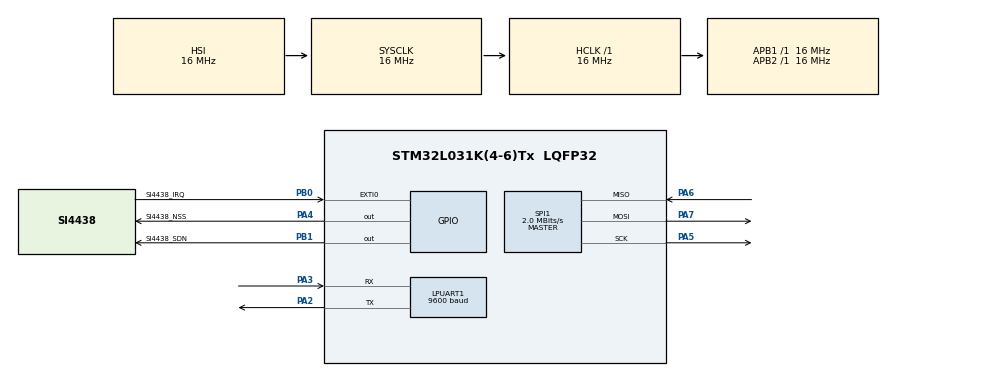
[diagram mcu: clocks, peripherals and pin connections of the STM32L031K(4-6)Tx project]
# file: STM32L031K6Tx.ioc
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LPUART1.BaudRate=9600
LPUART1.WordLength=UART_WORDLENGTH_8B
Mcu.Family=STM32L0
Mcu.Name=STM32L031K(4-6)Tx
Mcu.Package=LQFP32
NVIC.AES_RNG_LPUART1_IRQn=true\:0\:0\:true\:false\:true\:true
NVIC.EXTI0_1_IRQn=true\:0\:0\:true\:false\:true\:true
PA2.Mode=Asynchronous
PA2.Signal=LPUART1_TX
PA3.Mode=Asynchronous
PA3.Signal=LPUART1_RX
PA4.GPIO_Label=SI4438_NSS
PA4.GPIO_Speed=GPIO_SPEED_FREQ_HIGH
PA4.Signal=GPIO_Output
PA5.Mode=Full_Duplex_Master
PA5.Signal=SPI1_SCK
PA6.Mode=Full_Duplex_Master
PA6.Signal=SPI1_MISO
PA7.Mode=Full_Duplex_Master
PA7.Signal=SPI1_MOSI
PB0.GPIO_Label=SI4438_IRQ
PB0.GPIO_ModeDefaultEXTI=GPIO_MODE_IT_FALLING
PB0.Signal=GPXTI0
PB1.GPIO_Label=SI4438_SDN
PB1.GPIO_Speed=GPIO_SPEED_FREQ_HIGH
PB1.Signal=GPIO_Output
PB6.Signal=USART2_TX
PB7.Signal=USART2_RX
ProjectManager.HeapSize=0x200
ProjectManager.StackSize=0x400
ProjectManager.TargetToolchain=MDK-ARM V5
RCC.AHBFreq_Value=16000000
RCC.APB1Freq_Value=16000000
RCC.APB1TimFreq_Value=16000000
RCC.APB2Freq_Value=16000000
RCC.APB2TimFreq_Value=16000000
RCC.HCLKFreq_Value=16000000
RCC.HSE_VALUE=8000000
RCC.HSI16_VALUE=16000000
RCC.HSI_VALUE=16000000
RCC.LSE_VALUE=32768
RCC.MSI_VALUE=2097000
RCC.PLLMUL=RCC_PLLMUL_4
RCC.SYSCLKFreq_VALUE=16000000
RCC.SYSCLKSource=RCC_SYSCLKSOURCE_HSI
RCC.VCOOutputFreq_Value=64000000
SPI1.BaudRatePrescaler=SPI_BAUDRATEPRESCALER_8
SPI1.CalculateBaudRate=2.0 MBits/s
SPI1.Direction=SPI_DIRECTION_2LINES
SPI1.Mode=SPI_MODE_MASTER
SPI1.VirtualType=VM_MASTER
board=custom

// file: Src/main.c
/**
  ******************************************************************************
  * @file           : main.c
  * @brief          : Main program body
  ******************************************************************************
  ** This notice applies to any and all portions of this file
  * that are not between comment pairs USER CODE BEGIN and
  * USER CODE END. Other portions of this file, whether
  * inserted by the user or by software development tools
  * are owned by their respective copyright owners.
  *
  * COPYRIGHT(c) 2018 STMicroelectronics
  *
  * Redistribution and use in source and binary forms, with or without modification,
  * are permitted provided that the following conditions are met:
  *   1. Redistributions of source code must retain the above copyright notice,
  *      this list of conditions and the following disclaimer.
  *   2. Redistributions in binary form must reproduce the above copyright notice,
  *      this list of conditions and the following disclaimer in the documentation
  *      and/or other materials provided with the distribution.
  *   3. Neither the name of STMicroelectronics nor the names of its contributors
  *      may be used to endorse or promote products derived from this software
  *      without specific prior written permission.
  *
  * THIS SOFTWARE IS PROVIDED BY THE COPYRIGHT HOLDERS AND CONTRIBUTORS "AS IS"
  * AND ANY EXPRESS OR IMPLIED WARRANTIES, INCLUDING, BUT NOT LIMITED TO, THE
  * IMPLIED WARRANTIES OF MERCHANTABILITY AND FITNESS FOR A PARTICULAR PURPOSE ARE
  * DISCLAIMED. IN NO EVENT SHALL THE COPYRIGHT HOLDER OR CONTRIBUTORS BE LIABLE
  * FOR ANY DIRECT, INDIRECT, INCIDENTAL, SPECIAL, EXEMPLARY, OR CONSEQUENTIAL
  * DAMAGES (INCLUDING, BUT NOT LIMITED TO, PROCUREMENT OF SUBSTITUTE GOODS OR
  * SERVICES; LOSS OF USE, DATA, OR PROFITS; OR BUSINESS INTERRUPTION) HOWEVER
  * CAUSED AND ON ANY THEORY OF LIABILITY, WHETHER IN CONTRACT, STRICT LIABILITY,
  * OR TORT (INCLUDING NEGLIGENCE OR OTHERWISE) ARISING IN ANY WAY OUT OF THE USE
  * OF THIS SOFTWARE, EVEN IF ADVISED OF THE POSSIBILITY OF SUCH DAMAGE.
  *
  ******************************************************************************
  */
#include "main.h"
#include "stm32l0xx_hal.h"

/* USER CODE BEGIN Includes */
#include "appTask.h"
#include "wireless_app.h"
#include "wireless_drv.h"
#include "delay.h"
#include "mcu_eeprom.h"
#include "device.h"
#include "encrypt.h"

/* USER CODE END Includes */

UART_HandleTypeDef hlpuart1;

SPI_HandleTypeDef hspi1;

/* USER CODE BEGIN PV */
/* Private variables ---------------------------------------------------------*/
extern uint8_t const Channel_Frequency_Index[66];
uint16_t sleep_delay_cnt = 1;
uint16_t up_power_delay_cnt = 0;

/* USER CODE END PV */

void SystemClock_Config(void);
static void MX_GPIO_Init(void);
static void MX_SPI1_Init(void);
static void MX_LPUART1_UART_Init(void);

/* USER CODE BEGIN PFP */
/* Private function prototypes -----------------------------------------------*/

/* USER CODE END PFP */

/* USER CODE BEGIN 0 */

//系统省电
void SystemStop(void)
{

    if((sleep_delay_cnt > 1000)&&(up_power_delay_cnt > 60000 ))
    {
        sleep_delay_cnt = 1;
        up_power_delay_cnt = 60000;
        DEBUG_Printf("\r\nSystem stop");
        /* enable MCU wake-up by UART */
        HAL_UARTEx_EnableStopMode(&hlpuart1);
        /*关闭无线模块SI4438*/
        HAL_GPIO_WritePin(SI4438_SDN_GPIO_Port, SI4438_SDN_Pin, GPIO_PIN_SET);
        /* enter stop mode */
        HAL_PWR_EnterSTOPMode(PWR_LOWPOWERREGULATOR_ON, PWR_STOPENTRY_WFI);
        HAL_UARTEx_DisableStopMode(&hlpuart1);

        HAL_Delay(1);
        Wireless_Init();
        Si4438_Receive_Start(Wireless_Channel[0]); //开始接收无线数据
        DEBUG_Printf("\r\nSystem wake up");
    }

}

/* USER CODE END 0 */

int main(void)
{

  /* MCU Configuration----------------------------------------------------------*/

  /* Reset of all peripherals, Initializes the Flash interface and the Systick. */
  HAL_Init();

  /* Configure the system clock */
  SystemClock_Config();

  /* USER CODE BEGIN SysInit */
    __HAL_RCC_WAKEUPSTOP_CLK_CONFIG(RCC_STOP_WAKEUPCLOCK_HSI); /* Select HSI as wakeup clock from stop mode */
    __HAL_RCC_LPUART1_CONFIG(RCC_LPUART1CLKSOURCE_HSI);        /* HSI must be UART clock source to be able to wake up the MCU */
    delay_init(16);
  /* USER CODE END SysInit */

  /* Initialize all configured peripherals */
  MX_GPIO_Init();
  MX_SPI1_Init();
  MX_LPUART1_UART_Init();
  /* USER CODE BEGIN 2 */
    HAL_UART_Receive_IT(&hlpuart1, &LP_UartRec, 1);
    Device_MAC_Init();		//设备MAC地址初始化
    Get_WireLessChannel(Wireless_Channel);
    Wireless_Init();
    Si4438_Receive_Start(Wireless_Channel[0]); //开始接收无线数据
    //MCU_EEPRomTest();
    AES_Init();
    //EncryptTest();
    // _74Code_Test();
  /* USER CODE END 2 */

  /* Infinite loop */
  /* USER CODE BEGIN WHILE */
    DEBUG_Printf("\r\nSystem Start!");

    while (1)
    {

  /* USER CODE END WHILE */

  /* USER CODE BEGIN 3 */
        WirelessTask();
        UartTask();

        SystemStop();             //系统省电
        //DEBUG_Printf("\r\ndelay_1s");
    }
  /* USER CODE END 3 */

}

void SystemClock_Config(void)
{

  RCC_OscInitTypeDef RCC_OscInitStruct;
  RCC_ClkInitTypeDef RCC_ClkInitStruct;
  RCC_PeriphCLKInitTypeDef PeriphClkInit;

    /**Configure the main internal regulator output voltage
    */
  __HAL_PWR_VOLTAGESCALING_CONFIG(PWR_REGULATOR_VOLTAGE_SCALE1);

    /**Initializes the CPU, AHB and APB busses clocks
    */
  RCC_OscInitStruct.OscillatorType = RCC_OSCILLATORTYPE_HSI;
  RCC_OscInitStruct.HSIState = RCC_HSI_ON;
  RCC_OscInitStruct.HSICalibrationValue = 16;
  RCC_OscInitStruct.PLL.PLLState = RCC_PLL_NONE;
  if (HAL_RCC_OscConfig(&RCC_OscInitStruct) != HAL_OK)
  {
    _Error_Handler(__FILE__, __LINE__);
  }

    /**Initializes the CPU, AHB and APB busses clocks
    */
  RCC_ClkInitStruct.ClockType = RCC_CLOCKTYPE_HCLK|RCC_CLOCKTYPE_SYSCLK
                              |RCC_CLOCKTYPE_PCLK1|RCC_CLOCKTYPE_PCLK2;
  RCC_ClkInitStruct.SYSCLKSource = RCC_SYSCLKSOURCE_HSI;
  RCC_ClkInitStruct.AHBCLKDivider = RCC_SYSCLK_DIV1;
  RCC_ClkInitStruct.APB1CLKDivider = RCC_HCLK_DIV1;
  RCC_ClkInitStruct.APB2CLKDivider = RCC_HCLK_DIV1;

  if (HAL_RCC_ClockConfig(&RCC_ClkInitStruct, FLASH_LATENCY_0) != HAL_OK)
  {
    _Error_Handler(__FILE__, __LINE__);
  }

  PeriphClkInit.PeriphClockSelection = RCC_PERIPHCLK_LPUART1;
  PeriphClkInit.Lpuart1ClockSelection = RCC_LPUART1CLKSOURCE_PCLK1;
  if (HAL_RCCEx_PeriphCLKConfig(&PeriphClkInit) != HAL_OK)
  {
    _Error_Handler(__FILE__, __LINE__);
  }

    /**Configure the Systick interrupt time
    */
  HAL_SYSTICK_Config(HAL_RCC_GetHCLKFreq()/1000);

    /**Configure the Systick
    */
  HAL_SYSTICK_CLKSourceConfig(SYSTICK_CLKSOURCE_HCLK);

  /* SysTick_IRQn interrupt configuration */
  HAL_NVIC_SetPriority(SysTick_IRQn, 0, 0);
}

/* LPUART1 init function */
static void MX_LPUART1_UART_Init(void)
{

  hlpuart1.Instance = LPUART1;
  hlpuart1.Init.BaudRate = 9600;
  hlpuart1.Init.WordLength = UART_WORDLENGTH_8B;
  hlpuart1.Init.StopBits = UART_STOPBITS_1;
  hlpuart1.Init.Parity = UART_PARITY_NONE;
  hlpuart1.Init.Mode = UART_MODE_TX_RX;
  hlpuart1.Init.HwFlowCtl = UART_HWCONTROL_NONE;
  hlpuart1.Init.OneBitSampling = UART_ONE_BIT_SAMPLE_DISABLE;
  hlpuart1.AdvancedInit.AdvFeatureInit = UART_ADVFEATURE_NO_INIT;
  if (HAL_UART_Init(&hlpuart1) != HAL_OK)
  {
    _Error_Handler(__FILE__, __LINE__);
  }

}

/* SPI1 init function */
static void MX_SPI1_Init(void)
{

  /* SPI1 parameter configuration*/
  hspi1.Instance = SPI1;
  hspi1.Init.Mode = SPI_MODE_MASTER;
  hspi1.Init.Direction = SPI_DIRECTION_2LINES;
  hspi1.Init.DataSize = SPI_DATASIZE_8BIT;
  hspi1.Init.CLKPolarity = SPI_POLARITY_LOW;
  hspi1.Init.CLKPhase = SPI_PHASE_1EDGE;
  hspi1.Init.NSS = SPI_NSS_SOFT;
  hspi1.Init.BaudRatePrescaler = SPI_BAUDRATEPRESCALER_8;
  hspi1.Init.FirstBit = SPI_FIRSTBIT_MSB;
  hspi1.Init.TIMode = SPI_TIMODE_DISABLE;
  hspi1.Init.CRCCalculation = SPI_CRCCALCULATION_DISABLE;
  hspi1.Init.CRCPolynomial = 7;
  if (HAL_SPI_Init(&hspi1) != HAL_OK)
  {
    _Error_Handler(__FILE__, __LINE__);
  }

}

/** Configure pins as
        * Analog
        * Input
        * Output
        * EVENT_OUT
        * EXTI
     PB6   ------> USART2_TX
     PB7   ------> USART2_RX
*/
static void MX_GPIO_Init(void)
{

  GPIO_InitTypeDef GPIO_InitStruct;

  /* GPIO Ports Clock Enable */
  __HAL_RCC_GPIOA_CLK_ENABLE();
  __HAL_RCC_GPIOB_CLK_ENABLE();

  /*Configure GPIO pin Output Level */
  HAL_GPIO_WritePin(SI4438_NSS_GPIO_Port, SI4438_NSS_Pin, GPIO_PIN_RESET);

  /*Configure GPIO pin Output Level */
  HAL_GPIO_WritePin(SI4438_SDN_GPIO_Port, SI4438_SDN_Pin, GPIO_PIN_RESET);

  /*Configure GPIO pin : SI4438_NSS_Pin */
  GPIO_InitStruct.Pin = SI4438_NSS_Pin;
  GPIO_InitStruct.Mode = GPIO_MODE_OUTPUT_PP;
  GPIO_InitStruct.Pull = GPIO_NOPULL;
  GPIO_InitStruct.Speed = GPIO_SPEED_FREQ_HIGH;
  HAL_GPIO_Init(SI4438_NSS_GPIO_Port, &GPIO_InitStruct);

  /*Configure GPIO pin : SI4438_IRQ_Pin */
  GPIO_InitStruct.Pin = SI4438_IRQ_Pin;
  GPIO_InitStruct.Mode = GPIO_MODE_IT_FALLING;
  GPIO_InitStruct.Pull = GPIO_NOPULL;
  HAL_GPIO_Init(SI4438_IRQ_GPIO_Port, &GPIO_InitStruct);

  /*Configure GPIO pin : SI4438_SDN_Pin */
  GPIO_InitStruct.Pin = SI4438_SDN_Pin;
  GPIO_InitStruct.Mode = GPIO_MODE_OUTPUT_PP;
  GPIO_InitStruct.Pull = GPIO_NOPULL;
  GPIO_InitStruct.Speed = GPIO_SPEED_FREQ_HIGH;
  HAL_GPIO_Init(SI4438_SDN_GPIO_Port, &GPIO_InitStruct);

  /*Configure GPIO pins : PB6 PB7 */
  GPIO_InitStruct.Pin = GPIO_PIN_6|GPIO_PIN_7;
  GPIO_InitStruct.Mode = GPIO_MODE_AF_PP;
  GPIO_InitStruct.Pull = GPIO_NOPULL;
  GPIO_InitStruct.Speed = GPIO_SPEED_FREQ_VERY_HIGH;
  GPIO_InitStruct.Alternate = GPIO_AF0_USART2;
  HAL_GPIO_Init(GPIOB, &GPIO_InitStruct);

  /* EXTI interrupt init*/
  HAL_NVIC_SetPriority(EXTI0_1_IRQn, 0, 0);
  HAL_NVIC_EnableIRQ(EXTI0_1_IRQn);

}

void _Error_Handler(char *file, int line)
{
    while (1)
    {
    }
}

#ifdef  USE_FULL_ASSERT
/**
  * @brief  Reports the name of the source file and the source line number
  *         where the assert_param error has occurred.
  * @param  file: pointer to the source file name
  * @param  line: assert_param error line source number
  * @retval None
  */
void assert_failed(uint8_t* file, uint32_t line)
{
  /* USER CODE BEGIN 6 */
    /* User can add his own implementation to report the file name and line number,
     tex: DEBUG_Printf("Wrong parameters value: file %s on line %d\r\n", file, line) */
  /* USER CODE END 6 */
}
#endif /* USE_FULL_ASSERT */

/************************ (C) COPYRIGHT STMicroelectronics *****END OF FILE****/
